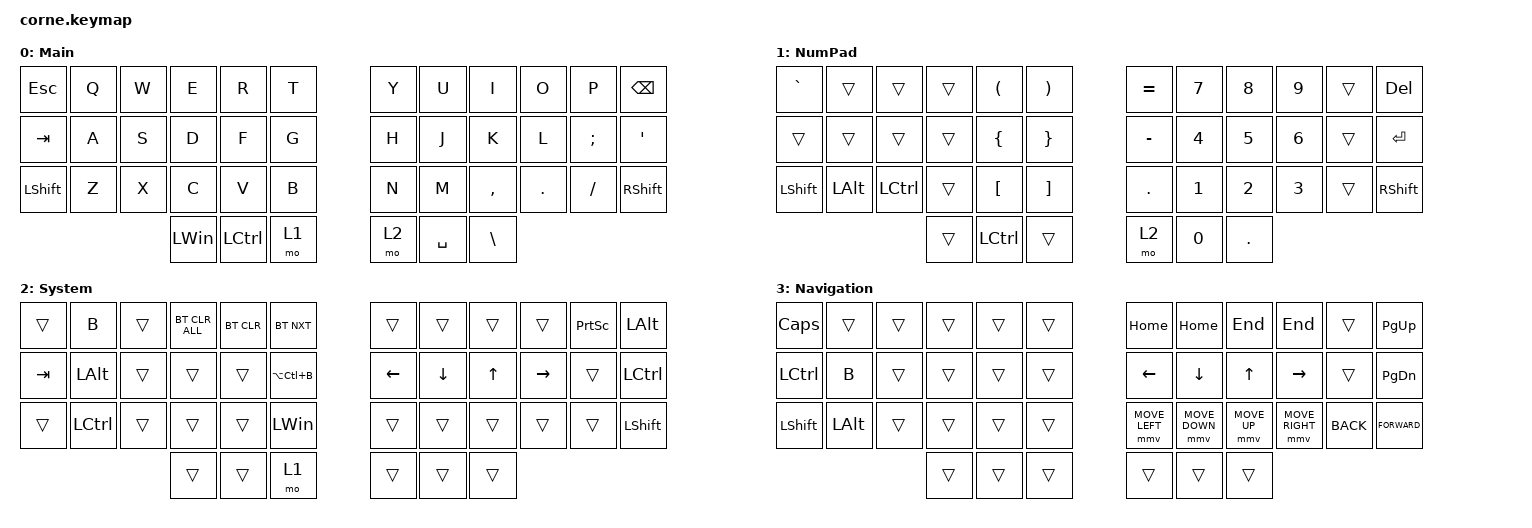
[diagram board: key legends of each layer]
#include <behaviors.dtsi>
#include <dt-bindings/zmk/bt.h>
#include <dt-bindings/zmk/keys.h>
#include <dt-bindings/zmk/pointing.h>

/ {
    combos { compatible = "zmk,combos"; };

    keymap {
        compatible = "zmk,keymap";

        Main {
            bindings = <
&kp ESC         &kp Q  &kp W  &kp E         &kp R      &kp T    &kp Y  &kp U      &kp I          &kp O       &kp P          &kp BACKSPACE
&kp TAB         &kp A  &kp S  &kp D         &kp F      &kp G    &kp H  &kp J      &kp K          &kp L       &kp SEMICOLON  &kp SINGLE_QUOTE
&kp LEFT_SHIFT  &kp Z  &kp X  &kp C         &kp V      &kp B    &kp N  &kp M      &kp COMMA      &kp PERIOD  &kp SLASH      &kp RIGHT_SHIFT
                              &kp LEFT_WIN  &kp LCTRL  &mo 1    &mo 2  &kp SPACE  &kp BACKSLASH
            >;
        };

        NumPad {
            bindings = <
&kp GRAVE       &trans        &trans            &trans  &kp LEFT_PARENTHESIS  &kp RIGHT_PARENTHESIS    &kp EQUAL   &kp NUMBER_7  &kp NUMBER_8  &kp NUMBER_9  &trans  &kp DELETE
&trans          &trans        &trans            &trans  &kp LEFT_BRACE        &kp RIGHT_BRACE          &kp MINUS   &kp NUMBER_4  &kp NUMBER_5  &kp NUMBER_6  &trans  &kp ENTER
&kp LEFT_SHIFT  &kp LEFT_ALT  &kp LEFT_CONTROL  &trans  &kp LEFT_BRACKET      &kp RIGHT_BRACKET        &kp PERIOD  &kp NUMBER_1  &kp NUMBER_2  &kp NUMBER_3  &trans  &kp RIGHT_SHIFT
                                                &trans  &kp LEFT_CONTROL      &trans                   &mo 2       &kp NUMBER_0  &kp PERIOD
            >;
        };

        System {
            bindings = <
&trans   &kp B             &trans  &bt BT_CLR_ALL  &bt BT_CLR  &bt BT_NXT       &trans    &trans    &trans  &trans     &kp PRINTSCREEN  &kp LEFT_ALT
&kp TAB  &kp LEFT_ALT      &trans  &trans          &trans      &kp LA(LC(B))    &kp LEFT  &kp DOWN  &kp UP  &kp RIGHT  &trans           &kp LEFT_CONTROL
&trans   &kp LEFT_CONTROL  &trans  &trans          &trans      &kp LEFT_WIN     &trans    &trans    &trans  &trans     &trans           &kp LEFT_SHIFT
                                   &trans          &trans      &mo 1            &trans    &trans    &trans
            >;
        };

        Navigation {
            bindings = <
&kp CAPS          &trans        &trans  &trans  &trans  &trans    &kp HOME        &kp HOME        &kp END       &kp END          &trans      &kp PAGE_UP
&kp LEFT_CONTROL  &kp B         &trans  &trans  &trans  &trans    &kp LEFT        &kp DOWN        &kp UP        &kp RIGHT        &trans      &kp PAGE_DOWN
&kp LEFT_SHIFT    &kp LEFT_ALT  &trans  &trans  &trans  &trans    &mmv MOVE_LEFT  &mmv MOVE_DOWN  &mmv MOVE_UP  &mmv MOVE_RIGHT  &kp K_BACK  &kp K_FORWARD
                                        &trans  &trans  &trans    &trans          &trans          &trans
            >;
        };
    };

    conditional_layers {
        compatible = "zmk,conditional-layers";

        comb {
            if-layers = <1 2>;
            then-layer = <3>;
        };
    };
};
